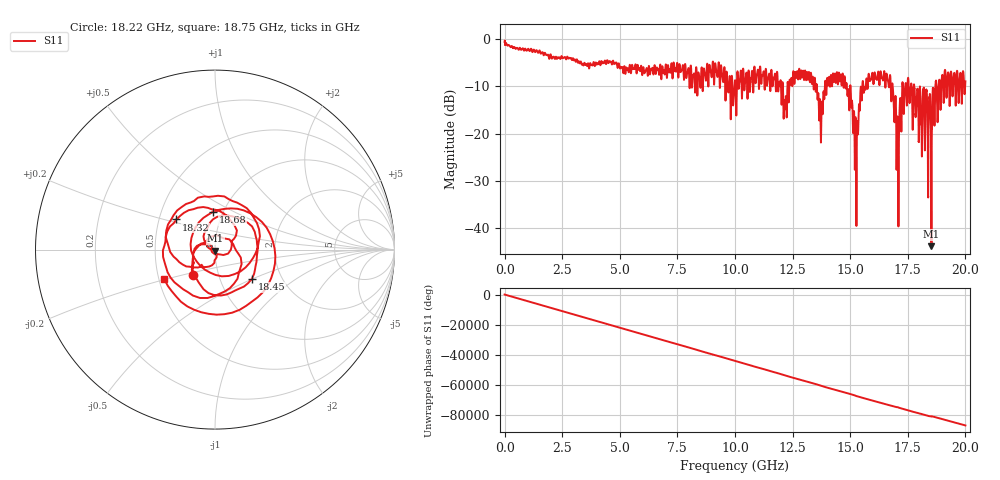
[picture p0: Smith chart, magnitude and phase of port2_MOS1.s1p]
! MS46122B
! 2250307/22442219
! 6/13/2025 3:28:05 PM
! C:\USERS\SPARKY\DOCUMENTS\VNA_DATA\JUNE13_2025\3.2K\PORT2_MOS1.S1P
! CHANNEL.1
! TR.MEASUREMENT
! RAW.DATA
# GHZ S RI R 50.0
! FREQ.GHZ  S11RE  S11IM
!; PortSelection: Port_1
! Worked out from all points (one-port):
!   10001 points, 1 MHz to 20 GHz, reference 50 ohm
!   lowest |S11| = -43.7 dB at 18.53 GHz (marker M1), VSWR 1.01, Z = 50.2 - j0.607 ohm
!   |S11| at or under -10 dB: 15.02 GHz to 15.53 GHz (510.7 MHz wide, 3.34 % of centre); 16.85 GHz to 17.26 GHz (409.2 MHz wide, 2.4 % of centre); 17.78 GHz to 18.7 GHz (920.2 MHz wide, 5.05 % of centre) (the widest 3 of 58)
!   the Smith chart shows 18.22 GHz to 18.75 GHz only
!   S11 on the Smith chart (normalised r, x): 18.22 GHz: 0.76, -0.22; 18.32 GHz: 0.61, +0.22; 18.45 GHz: 1.42, -0.49; 18.68 GHz: 0.90, +0.39; 18.75 GHz: 0.53, -0.20
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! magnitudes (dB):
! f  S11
! 1 MHz  -0.6
! 2.501 GHz  -3.9
! 5.001 GHz  -6.1
! 7.501 GHz  -5.3
! 9.219 GHz  -7.4
! 10 GHz  -8.8
! 11.16 GHz  -8.1
! 11.9 GHz  -9.6
! 12.18 GHz  -14.8
! 12.5 GHz  -9.0
! 13.29 GHz  -7.1
! 13.73 GHz  -21.1
! 14.34 GHz  -7.3
! 15 GHz  -10.0
! 15.27 GHz  -39.5
! 15.62 GHz  -10.2
! 16.65 GHz  -9.1
! 17.08 GHz  -22.0
! 17.22 GHz  -19.6
! 17.5 GHz  -8.7
! 18.22 GHz  -14.6
! 18.32 GHz  -11.3
! 18.45 GHz  -11.6
! 18.53 GHz  -43.7
! 18.68 GHz  -13.5
! 18.75 GHz  -9.7
! 19.06 GHz  -13.5
! 20 GHz  -8.9
